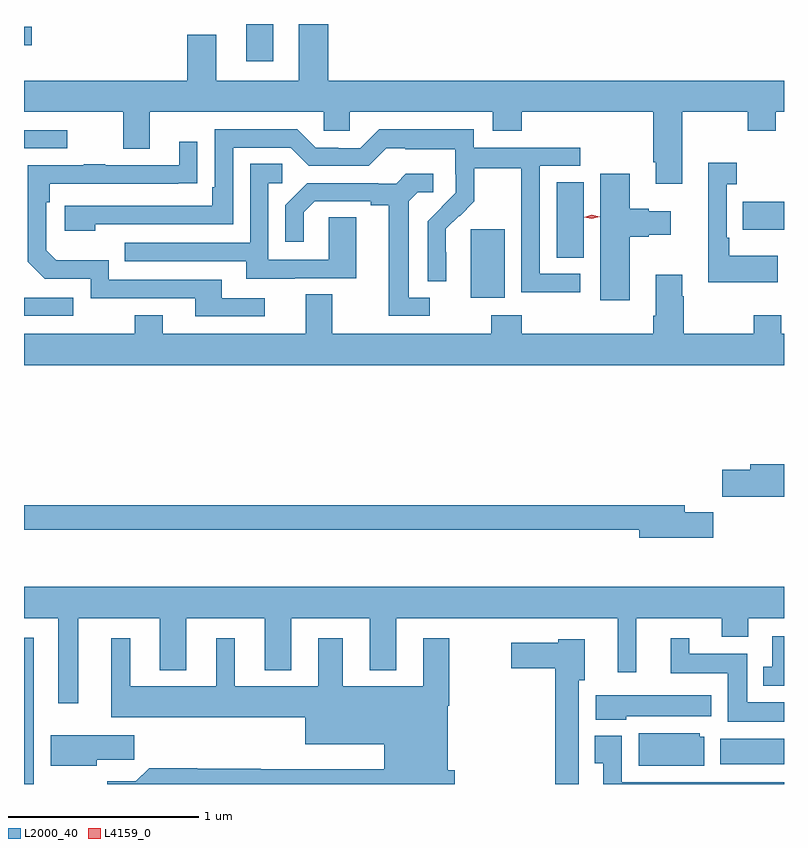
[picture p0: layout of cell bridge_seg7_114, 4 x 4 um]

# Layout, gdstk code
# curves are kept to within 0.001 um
import gdstk
lib = gdstk.Library(unit=1e-6, precision=1e-09)
def R(c, l, rs):  # rectangles x0, y0, x1, y1
    for r in rs: c.add(gdstk.rectangle(r[:2], r[2:], *l))
def P(c, l, *ps):  # polygons
    for p in ps: c.add(gdstk.Polygon(p, *l))
L2000_40 = (2000, 40)
L4159_0 = (4159, 0)

bridge_seg7_114 = lib.new_cell('bridge_seg7_114')
R(bridge_seg7_114, L2000_40, [(808.348,1038.371,808.399,1039.141), (812.013,1038.476,812.348,1038.61), (808.348,1040.835,808.606,1040.931), (810.698,1040.93,810.877,1041.291), (811.151,1041.142,811.294,1041.539), (812.131,1041.287,812.348,1041.435), (808.348,1041.717,808.576,1041.813), (809.519,1042.176,809.659,1042.371), (808.348,1042.26,808.39,1042.356)])
P(bridge_seg7_114, L2000_40, [(809.948,1042.371),(809.795,1042.371),(809.795,1042.072),(809.359,1042.072),(809.359,1042.315),(809.207,1042.315),(809.207,1042.072),(808.348,1042.072),(808.348,1041.908),(808.871,1041.908),(808.871,1041.714),(809.011,1041.714),(809.011,1041.908),(809.925,1041.908),(809.925,1041.81),(810.063,1041.81),(810.063,1041.908),(810.815,1041.908),(810.815,1041.809),(810.968,1041.809),(810.968,1041.908),(811.661,1041.908),(811.661,1041.643),(811.673,1041.643),(811.673,1041.531),(811.813,1041.531),(811.813,1041.908),(812.158,1041.908),(812.158,1041.809),(812.305,1041.809),(812.305,1041.908),(812.348,1041.908),(812.348,1042.072),(809.948,1042.072)],
  [(811.276,1041.057),(811.062,1041.057),(811.062,1041.624),(811.276,1041.624),(811.276,1041.72),(810.714,1041.72),(810.714,1041.817),(810.217,1041.817),(810.117,1041.717),(810.002,1041.717),(810.002,1041.72),(809.883,1041.72),(809.787,1041.816),(809.352,1041.816),(809.352,1041.511),(809.339,1041.511),(809.339,1041.414),(808.563,1041.414),(808.563,1041.284),(808.724,1041.284),(808.724,1041.318),(809.448,1041.318),(809.448,1041.72),(809.751,1041.72),(809.847,1041.624),(810.162,1041.624),(810.255,1041.717),(810.355,1041.717),(810.355,1041.713),(810.618,1041.713),(810.618,1041.579),(810.62,1041.579),(810.62,1041.482),(810.474,1041.334),(810.474,1041.016),(810.57,1041.016),(810.569,1041.293),(810.639,1041.363),(810.642,1041.36),(810.719,1041.437),(810.719,1041.612),(810.964,1041.612),(810.964,1041.388),(810.966,1041.388),(810.966,1040.959),(811.276,1040.959)],
  [(809.614,1040.928),(809.389,1040.928),(809.389,1041.024),(808.794,1041.024),(808.794,1041.127),(808.517,1041.127),(808.464,1041.18),(808.464,1041.434),(808.484,1041.434),(808.484,1041.531),(809.261,1041.532),(809.261,1041.751),(809.165,1041.751),(809.165,1041.627),(808.775,1041.627),(808.775,1041.632),(808.663,1041.632),(808.663,1041.627),(808.368,1041.627),(808.368,1041.12),(808.458,1041.03),(808.698,1041.03),(808.698,1040.928),(809.249,1040.928),(809.249,1040.832),(809.614,1040.832)],
  [(812.315,1041.151),(812.059,1041.151),(812.059,1041.247),(812.046,1041.247),(812.046,1041.527),(812.098,1041.527),(812.098,1041.64),(811.949,1041.64),(811.949,1041.011),(812.315,1041.011)],
  [(809.773,1041.033),(810.097,1041.033),(810.097,1041.353),(809.952,1041.353),(809.952,1041.129),(809.634,1041.129),(809.634,1041.534),(809.707,1041.534),(809.707,1041.635),(809.538,1041.635),(809.538,1041.219),(808.879,1041.219),(808.879,1041.123),(809.519,1041.123),(809.519,1041.029),(809.773,1041.029)],
  [(810.484,1040.931),(810.373,1040.931),(810.373,1041.439),(810.42,1041.486),(810.502,1041.486),(810.502,1041.583),(810.358,1041.583),(810.306,1041.531),(810.212,1041.531),(810.212,1041.534),(809.84,1041.534),(809.724,1041.418),(809.724,1041.225),(809.821,1041.225),(809.821,1041.381),(809.878,1041.438),(810.173,1041.438),(810.173,1041.416),(810.269,1041.416),(810.269,1040.835),(810.484,1040.835)],
  [(811.537,1041.251),(811.637,1041.251),(811.637,1041.263),(811.753,1041.263),(811.753,1041.385),(811.637,1041.385),(811.637,1041.398),(811.537,1041.398),(811.537,1041.583),(811.382,1041.583),(811.382,1040.916),(811.537,1040.916)],
  [(812.348,1040.74),(812.334,1040.74),(812.334,1040.839),(812.188,1040.839),(812.188,1040.74),(811.821,1040.74),(811.821,1040.939),(811.813,1040.939),(811.813,1041.052),(811.673,1041.052),(811.673,1040.836),(811.661,1040.836),(811.661,1040.74),(810.968,1040.74),(810.968,1040.839),(810.808,1040.839),(810.808,1040.74),(809.971,1040.74),(809.971,1040.948),(809.831,1040.948),(809.831,1040.74),(809.077,1040.74),(809.077,1040.839),(808.93,1040.839),(808.93,1040.74),(808.348,1040.74),(808.348,1040.576),(812.348,1040.576)],
  [(812.348,1040.053),(812.171,1040.053),(812.171,1040.024),(812.022,1040.024),(812.022,1039.882),(812.348,1039.882)],
  [(811.975,1039.802),(811.825,1039.802),(811.825,1039.838),(808.348,1039.838),(808.348,1039.71),(811.586,1039.71),(811.586,1039.667),(811.975,1039.667)],
  [(808.633,1039.244),(809.063,1039.244),(809.063,1038.971),(809.203,1038.971),(809.203,1039.244),(809.615,1039.244),(809.615,1038.971),(809.755,1038.971),(809.755,1039.244),(810.167,1039.244),(810.167,1038.971),(810.307,1038.971),(810.307,1039.244),(811.472,1039.244),(811.472,1038.96),(811.571,1038.96),(811.571,1039.244),(812.021,1039.244),(812.021,1039.145),(812.161,1039.145),(812.161,1039.244),(812.348,1039.244),(812.348,1039.408),(808.348,1039.408),(808.348,1039.244),(808.529,1039.244),(808.529,1038.795),(808.633,1038.795)],
  [(812.348,1039.149),(812.286,1039.149),(812.286,1038.987),(812.24,1038.987),(812.24,1038.887),(812.348,1038.887)],
  [(810.614,1038.444),(810.577,1038.444),(810.577,1038.782),(810.585,1038.782),(810.585,1039.138),(810.449,1039.138),(810.449,1038.886),(810.025,1038.886),(810.025,1039.138),(809.897,1039.138),(809.897,1038.886),(809.458,1038.886),(809.458,1039.138),(809.36,1039.138),(809.36,1038.886),(808.906,1038.886),(808.906,1039.138),(808.808,1039.138),(808.808,1038.722),(809.828,1038.722),(809.828,1038.581),(810.245,1038.581),(810.245,1038.448),(809.593,1038.448),(809.593,1038.452),(809.261,1038.452),(809.261,1038.455),(809.006,1038.455),(808.936,1038.385),(808.787,1038.385),(808.787,1038.371),(810.614,1038.371)],
  [(812.348,1038.802),(812.155,1038.802),(812.155,1039.057),(811.849,1039.057),(811.849,1039.138),(811.751,1039.138),(811.751,1038.953),(812.051,1038.953),(812.051,1038.698),(812.348,1038.698)],
  [(811.267,1038.918),(811.3,1038.918),(811.3,1039.132),(811.161,1039.132),(811.161,1039.114),(810.912,1039.114),(810.912,1038.98),(811.145,1038.98),(811.145,1038.371),(811.267,1038.371)],
  [(811.518,1038.728),(811.966,1038.728),(811.966,1038.838),(811.356,1038.838),(811.356,1038.71),(811.518,1038.71)],
  [(811.927,1038.621),(811.905,1038.621),(811.905,1038.637),(811.583,1038.637),(811.583,1038.467),(811.927,1038.467)],
  [(808.732,1038.499),(808.927,1038.499),(808.927,1038.628),(808.488,1038.628),(808.488,1038.467),(808.732,1038.467)],
  [(812.348,1038.379),(811.494,1038.379),(811.494,1038.625),(811.352,1038.625),(811.352,1038.481),(811.397,1038.481),(811.397,1038.371),(812.348,1038.371)])
P(bridge_seg7_114, L4159_0, [(811.337,1041.346),(811.297,1041.355),(811.297,1041.355),(811.297,1041.355),(811.337,1041.366),(811.377,1041.357),(811.377,1041.357),(811.377,1041.356)])

lib.write_gds('bridge_seg7_114.gds')
